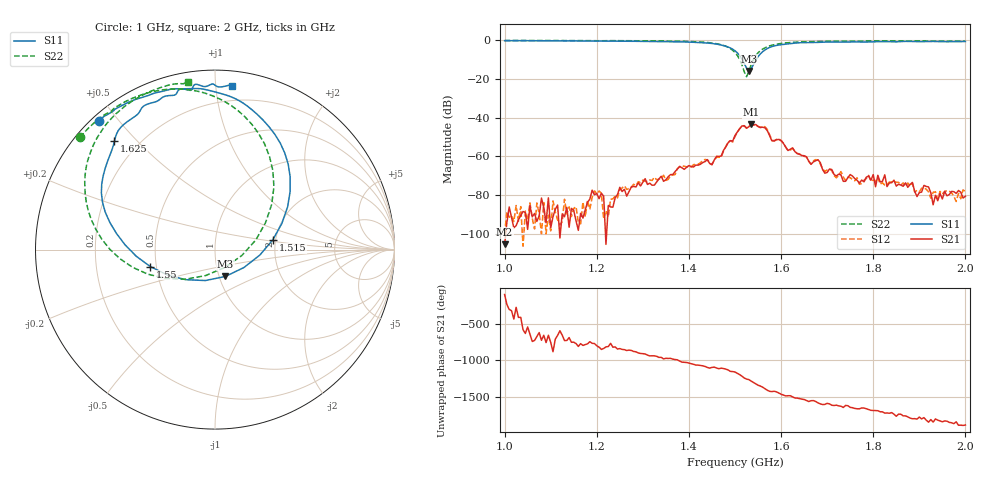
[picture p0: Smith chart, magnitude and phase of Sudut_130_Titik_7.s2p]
# Hz S RI R 50
! CMT, C1220, 16058040, 17.2.0/1
! Date: 14/08/2018 12:13:44
! Data: Format (Calibration Info)
! Freq  S11: Re/Im (F2)  S21: Re/Im (F2)  S12: Re/Im (F2)  S22: Re/Im (F2)
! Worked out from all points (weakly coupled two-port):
!   201 points, 1 GHz to 2 GHz, reference 50 ohm
!   highest |S21| = -43.47 dB at 1.535 GHz (marker M1); lowest = -105.4 dB at 1 GHz (marker M2)
!   lowest |S11| = -15.9 dB at 1.53 GHz (marker M3), VSWR 1.38, Z = 53.6 - j16.4 ohm
!   |S11| at or under -10 dB: 1.516 GHz to 1.546 GHz (30.43 MHz wide, 1.99 % of centre)
!   |S22| runs from -18.9 to -0.2 dB; largest |S21 - S12| = 0.00038
!   S11 on the Smith chart (normalised r, x): 1 GHz: 0.02, +0.44; 1.515 GHz: 1.93, +0.23; 1.55 GHz: 0.46, -0.10; 1.625 GHz: 0.12, +0.43; 2 GHz: 0.10, +1.11
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1e9  -0.6471 0.7146  -9.8e-08 -5.38e-06  6e-06 8.07e-06  -0.7536 0.625
1.17e9  -0.4778 0.8224  7.27e-06 -2.46e-05  5.25e-05 -4.21e-05  -0.6166 0.7508
1.25e9  -0.3556 0.8654  -7.38e-05 -0.000142  -4.87e-05 -0.000129  -0.536 0.804
1.265e9  -0.3393 0.8714  -7.67e-05 -5.56e-05  -0.000114 -8.44e-05  -0.5155 0.8163
1.335e9  -0.219 0.896  -0.000136 0.000227  -0.000131 0.000225  -0.4004 0.8654
1.45e9  0.1808 0.7992  0.000582 -0.000181  0.000586 -0.00021  0.0236 0.8404
1.5e9  0.4189 0.3257  0.000569 -0.00344  0.000522 -0.00323  0.3283 0.3497
1.515e9  0.322 0.0543  -0.00454 -0.00406  -0.00448 -0.00414  0.2274 0.0536
1.53e9  0.0585 -0.1495  -0.00581 0.000583  -0.00584 0.000565  -0.0532 -0.1451
1.535e9  -0.0535 -0.1723  -0.00604 0.00291  -0.00606 0.00289  -0.166 -0.1652
1.55e9  -0.3608 -0.0944  -0.000783 0.00589  -0.000993 0.00587  -0.4588 -0.0988
1.625e9  -0.5601 0.6032  0.000719 -0.0015  0.000722 -0.00142  -0.701 0.5212
1.67e9  -0.4426 0.7444  -0.000305 -0.000656  -0.000308 -0.000705  -0.6252 0.6721
1.735e9  -0.3155 0.8306  -0.000198 0.000115  -0.000255 0.000146  -0.5191 0.7846
1.8e9  -0.2074 0.8829  -0.000104 0.000325  1.94e-05 0.000247  -0.4242 0.8493
1.805e9  -0.2022 0.8893  -4.2e-05 0.00016  3.49e-05 0.000227  -0.4171 0.8537
1.81e9  -0.1952 0.8937  -8.27e-05 0.000317  0.000107 0.00027  -0.4104 0.8577
1.825e9  -0.1651 0.8931  0.000106 0.000319  3.03e-05 0.000181  -0.3898 0.8675
1.83e9  -0.1541 0.8901  4.78e-05 0.000161  6.67e-06 0.000188  -0.3832 0.8707
1.835e9  -0.1441 0.8878  6.93e-05 0.000196  5.5e-05 0.000212  -0.3765 0.874
1.925e9  -0.0175 0.9225  0.00011 -3.51e-05  7.69e-05 -3.3e-05  -0.2506 0.9178
2e9  0.0957 0.9128  -3.69e-06 -9.42e-05  -6.34e-07 -0.000124  -0.1523 0.933
